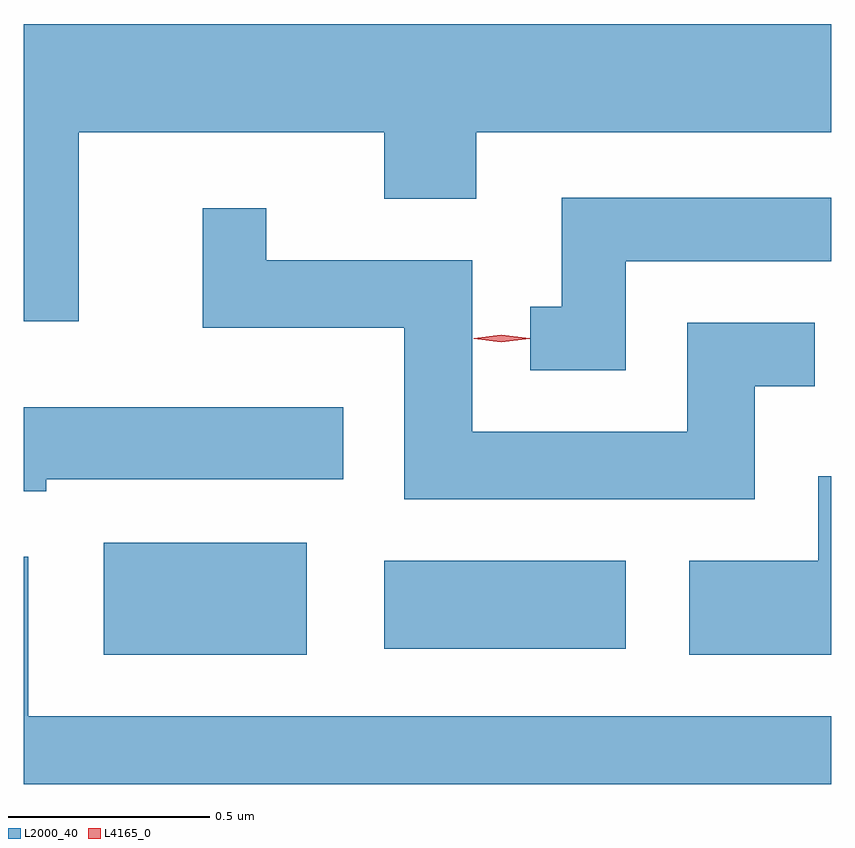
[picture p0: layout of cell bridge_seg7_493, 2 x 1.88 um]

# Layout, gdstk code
import gdstk
lib = gdstk.Library(unit=1e-6, precision=1e-09)
def R(c, l, rs):  # rectangles x0, y0, x1, y1
    for r in rs: c.add(gdstk.rectangle(r[:2], r[2:], *l))
def P(c, l, *ps):  # polygons
    for p in ps: c.add(gdstk.Polygon(p, *l))
L2000_40 = (2000, 40)
L4165_0 = (4165, 0)

bridge_seg7_493 = lib.new_cell('bridge_seg7_493')
R(bridge_seg7_493, L2000_40, [(1441.106,1708.581,1441.609,1708.859), (1441.801,1708.596,1442.399,1708.814)])
P(bridge_seg7_493, L2000_40, [(1441.044,1709.876),(1441.801,1709.876),(1441.801,1709.711),(1442.029,1709.711),(1442.029,1709.876),(1442.908,1709.876),(1442.908,1710.144),(1440.908,1710.144),(1440.908,1709.408),(1441.044,1709.408)],
  [(1442.399,1709.556),(1442.908,1709.556),(1442.908,1709.714),(1442.241,1709.714),(1442.241,1709.444),(1442.163,1709.444),(1442.163,1709.286),(1442.399,1709.286)],
  [(1442.719,1709.246),(1442.868,1709.246),(1442.868,1709.404),(1442.551,1709.404),(1442.551,1709.134),(1442.019,1709.134),(1442.019,1709.559),(1441.509,1709.559),(1441.509,1709.688),(1441.351,1709.688),(1441.351,1709.391),(1441.851,1709.391),(1441.851,1708.966),(1442.719,1708.966)],
  [(1440.964,1709.016),(1441.699,1709.016),(1441.699,1709.194),(1440.908,1709.194),(1440.908,1708.986),(1440.964,1708.986)],
  [(1442.908,1709.024),(1442.876,1709.024),(1442.876,1708.814),(1442.556,1708.814),(1442.556,1708.581),(1442.908,1708.581)],
  [(1442.908,1708.429),(1440.919,1708.429),(1440.919,1708.824),(1440.908,1708.824),(1440.908,1708.261),(1442.908,1708.261)])
P(bridge_seg7_493, L4165_0, [(1442.091,1709.355),(1442.022,1709.364),(1442.022,1709.364),(1442.022,1709.365),(1442.091,1709.374),(1442.161,1709.366),(1442.161,1709.365),(1442.161,1709.364)])

lib.write_gds('bridge_seg7_493.gds')
